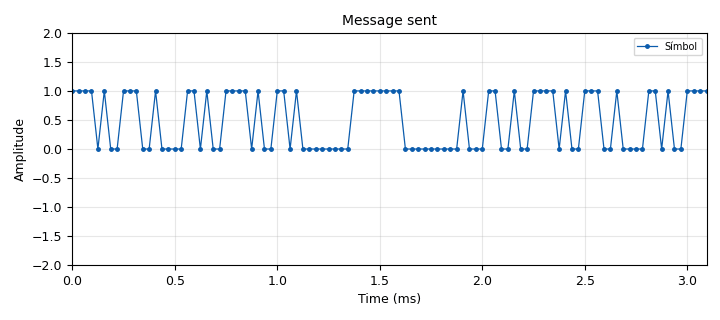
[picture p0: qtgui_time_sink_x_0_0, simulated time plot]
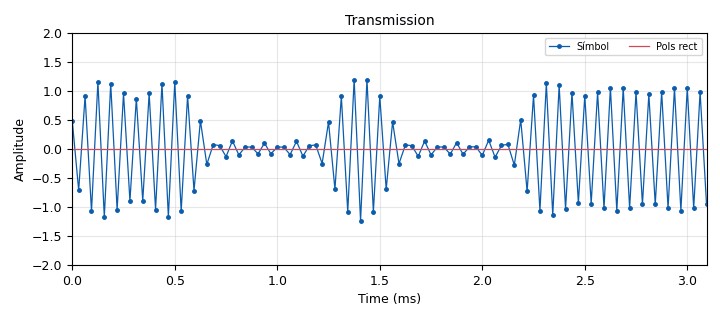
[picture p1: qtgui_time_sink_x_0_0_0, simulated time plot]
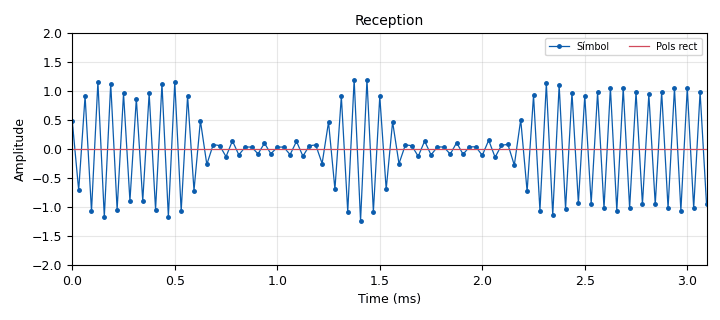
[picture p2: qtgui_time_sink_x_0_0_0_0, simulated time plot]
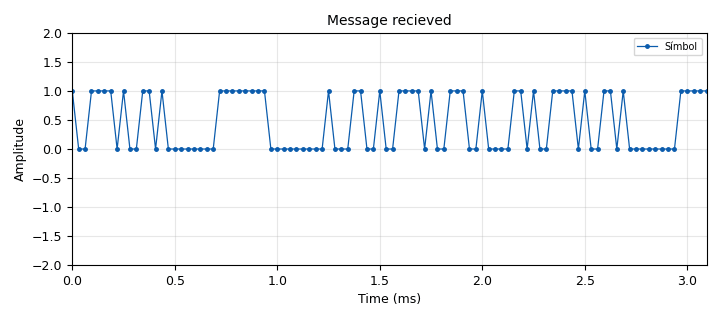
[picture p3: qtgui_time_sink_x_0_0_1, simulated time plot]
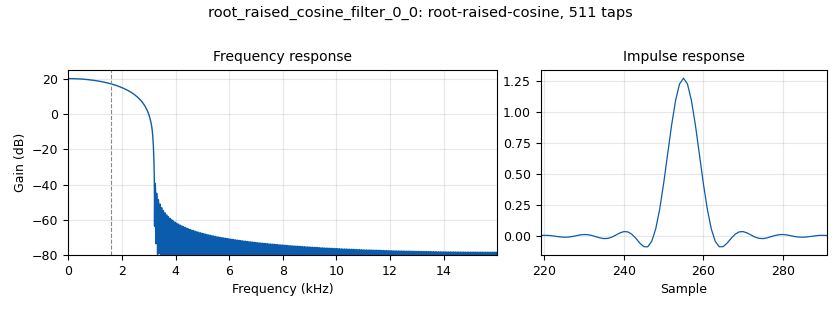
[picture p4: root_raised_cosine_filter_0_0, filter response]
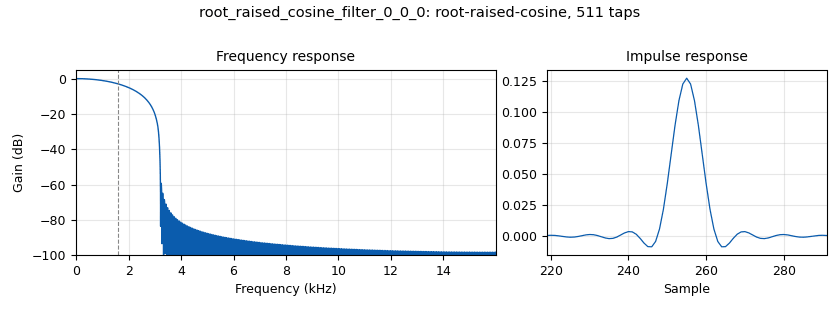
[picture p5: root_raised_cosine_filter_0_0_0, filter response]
options:
  parameters:
    generate_options: qt_gui
    id: ASK
    output_language: python
    title: ASK_Transmitter_Receiver
  states: {}

blocks:
- name: carrier_frequency
  id: variable_qtgui_range
  parameters:
    comment: Carrier Frequency
    label: carrier_frequency
    rangeType: int
    start: int(samp_rate/4)
    step: '100'
    stop: int(samp_rate/2)
    value: int(samp_rate/2)
  states: {}
- name: channel_attenuation
  id: variable_qtgui_range
  parameters:
    comment: Channel Attenuation
    label: channel_attenuation
    start: '0'
    step: '0.1'
    stop: '1'
    value: '1'
  states: {}
- name: delay_msg
  id: variable_qtgui_range
  parameters:
    rangeType: int
    start: '1'
    step: '1'
    stop: '72'
    value: '51'
  states: {}
- name: distance_time
  id: variable_qtgui_range
  parameters:
    comment: Distance Time
    label: distance_time
    rangeType: int
    start: '0'
    step: int(samp_rate/4)
    stop: int(samp_rate*10)
    value: '0'
  states: {}
- name: gamma
  id: variable_qtgui_range
  parameters:
    comment: gamma
    label: gamma
    start: '0'
    step: '100e-4'
    stop: '1'
    value: '500e-3'
  states: {}
- name: noise_amplitude
  id: variable_qtgui_range
  parameters:
    comment: Noise Amplitude
    label: noise_amplitude
    start: '0'
    step: '0.1'
    stop: '2'
    value: '0'
  states: {}
- name: num_taps
  id: variable
  parameters:
    value: '511'
  states: {}
- name: number_of_points
  id: variable
  parameters:
    value: '100'
  states: {}
- name: roll_off
  id: variable_qtgui_range
  parameters:
    gui_hint: 1,1,1,1
    start: '0.05'
    step: '0.05'
    stop: '1'
    value: '1'
  states: {}
- name: samp_rate
  id: variable
  parameters:
    value: 32e3
  states: {}
- name: space
  id: variable
  parameters:
    value: '10'
  states: {}
- name: analog_noise_source_x_0
  id: analog_noise_source_x
  parameters:
    amp: noise_amplitude
    noise_type: analog.GR_GAUSSIAN
    seed: '0'
    type: complex
  states: {}
- name: analog_sig_source_x_0
  id: analog_sig_source_x
  parameters:
    amp: '1'
    freq: carrier_frequency
    offset: '0'
    phase: '0'
    samp_rate: samp_rate
    type: float
    waveform: analog.GR_COS_WAVE
  states: {}
- name: blocks_add_xx_0
  id: blocks_add_xx
  parameters:
    type: complex
  states: {}
- name: blocks_char_to_float_0
  id: blocks_char_to_float
  parameters:
    comment: |-
      Moddulació 2PAM
      amb símbols -1 i 1
    scale: '1'
  states: {}
- name: blocks_complex_to_mag_0
  id: blocks_complex_to_mag
  parameters: {}
  states: {}
- name: blocks_delay_0
  id: blocks_delay
  parameters:
    comment: Simula el temps de transmissió
    delay: distance_time
    type: complex
  states: {}
- name: blocks_delay_1
  id: blocks_delay
  parameters:
    delay: delay_msg
    type: float
  states: {}
- name: blocks_float_to_complex_0
  id: blocks_float_to_complex
  parameters: {}
  states: {}
- name: blocks_multiply_const_vxx_0
  id: blocks_multiply_const_vxx
  parameters:
    comment: Simula la atenuació del canal
    const: channel_attenuation
    type: complex
  states: {}
- name: blocks_multiply_xx_0
  id: blocks_multiply_xx
  parameters:
    type: float
  states: {}
- name: blocks_sub_xx_0
  id: blocks_sub_xx
  parameters:
    type: float
  states: {}
- name: blocks_threshold_ff_0
  id: blocks_threshold_ff
  parameters:
    high: gamma
    init: '0'
    low: gamma
  states: {}
- name: blocks_throttle2_0
  id: blocks_throttle2
  parameters:
    samples_per_second: samp_rate
    type: complex
  states: {}
- name: blocks_throttle2_1
  id: blocks_throttle2
  parameters:
    samples_per_second: samp_rate
    type: byte
  states: {}
- name: blocks_throttle2_1_0
  id: blocks_throttle2
  parameters:
    samples_per_second: samp_rate
    type: float
  states: {}
- name: epy_block_0
  id: epy_block
  parameters:
    _source_code: |
      import numpy as np
      from gnuradio import gr

      class MessageSink(gr.sync_block):
          """
          Custom GNU Radio block that takes a stream of floats as input and prints a string corresponding to the UTF-8 encoding of the bits.

          Attributes:
              bits (list): The message converted into a sequence of bits.
              chars (list): The characters of the current message.
              in_message (bool): A flag indicating whether we are currently within a message.
              delay (int): The delay in samples.
              last_message (str): The last printed message.

          Methods:
              float_to_bit(f): Converts a float into a bit using a threshold.
              bits_to_char(bits): Converts a sequence of bits into a character.
              work(input_items, output_items): The main function called by GNU Radio to process the data.
          """
          def __init__(self, delay=100):  # Default delay, just in case (can be changed later)
              gr.sync_block.__init__(self,
                  name="Message Sink",
                  in_sig=[np.float32],
                  out_sig=None)
              self.bits = [] # List to store the bits
              self.chars = [] # List to store the characters
              self.in_message = False  # Flag to indicate if we are within a message
              self.delay = delay  # Delay in samples
              self.last_message = "" # Last printed message

          # Function to convert a float into a bit
          def float_to_bit(self, f):
              return 1 if f > 0.5 else 0 # Threshold to decide bit value (at 0.5)

          # Function to convert a sequence of bits into a character
          def bits_to_char(self, bits):
              return chr(int(''.join(map(str, bits)), 2))

          def work(self, input_items, output_items):
              ninput_items = len(input_items[0])
              
              # Convert floats to bits using the threshold
              self.bits.extend(self.float_to_bit(bit) for bit in input_items[0][:ninput_items])

              if len(self.bits) < self.delay:
                  # Not enough bits to start processing, return
                  return ninput_items

              # Apply delay
              self.bits = self.bits[self.delay:]

              # Main processing loop
              while len(self.bits) >= 8:
                  byte = self.bits[:8] # Get the next byte
                  self.bits = self.bits[8:]  # Remove processed bits

                  # Check for synchronization sequence
                  if byte == [1, 1, 1, 1, 1, 1, 1, 1]:
                      if self.bits[:8] == [0, 0, 0, 0, 0, 0, 0, 0]:
                          self.bits = self.bits[8:]  # Remove the second part of the synchronization sequence
                          self.in_message = True  # Start processing
                      continue

                  # Process the message
                  if self.in_message:
                      try:
                          if byte == [1, 1, 1, 1, 1, 1, 1, 1]:
                              # Skip appending the start sequence to the message
                              continue
                          # Convert the byte to a character
                          char = self.bits_to_char(byte)
                          if char == '\0':
                              # End of message
                              message = ''.join(self.chars)
                              if message != self.last_message:  # Only print the message if it has changed
                                  print(f"Received message: {message}")  # Print the message
                                  self.last_message = message  # Update the last printed message
                              self.chars = []  # Clear the list of characters for the next message
                              self.in_message = False  # Reset the message flag
                          else:
                              self.chars.append(char)  # Add the character to the list of characters
                      except ValueError:
                          # Invalid character, skip this byte
                          continue

              return ninput_items
    delay: 3+distance_time
  states: {}
- name: epy_block_1
  id: epy_block
  parameters:
    _source_code: "import numpy as np\nfrom gnuradio import gr\n\nclass MessageBitVectorSource(gr.sync_block):\n    \"\"\"\n    Custom GNU Radio block for converting a message into a bit vector source.\n\n    Attributes:\n        bits (list): The message converted into a sequence of bits.\n        index (int): The current position in the bit sequence.\n\n    Methods:\n        string_to_bits(s): Converts a string into a sequence of bits.\n        char_to_bits(char): Converts a character into a sequence of bits.\n        work(input_items, output_items): The main function called by GNU Radio to process the data.\n    \"\"\"\n    def __init__(self, message=\"Hello\"):  # Default message, just in case (can be changed later)\n        gr.sync_block.__init__(self,\n            name=\"Message Bit Vector Source\",\n            in_sig=None,\n            out_sig=[np.byte])\n        # Add the synchronization sequence, start sequence, and the frame to the message\n        self.bits = [1]*8 + self.string_to_bits('\\0' + message + '\\0')\n        self.index = 0  # Initialize the index to track current position in the bit sequence\n\n    def string_to_bits(self, s):\n        return [b for character in s for b in self.char_to_bits(character)]\n\n    def char_to_bits(self, char):\n        return [int(bit) for b in char.encode('utf-8') for bit in bin(b)[2:].zfill(8)]\n\n    def work(self, input_items, output_items):\n        noutput_items = len(output_items[0])\n        for i in range(noutput_items):\n            output_items[0][i] = self.bits[self.index]\n            self.index = (self.index + 1) % len(self.bits)  # Loop back to the start if at the end\n        return noutput_items\n    \n\n"
    message: '"FONCOM"'
  states: {}
- name: fir_filter_xxx_0
  id: fir_filter_xxx
  parameters:
    decim: '10'
    samp_delay: int(space/2)
    taps: '[1]'
    type: fff
  states: {}
- name: interp_fir_filter_xxx_0_0
  id: interp_fir_filter_xxx
  parameters:
    comment: Impuls
    interp: space
    taps: '[1]+[0]*(space-1)'
    type: fff
  states: {}
- name: qtgui_time_sink_x_0_0
  id: qtgui_time_sink_x
  parameters:
    alpha1: '0.75'
    color1: green
    ctrlpanel: 'True'
    grid: 'True'
    label1: Símbol
    marker1: '0'
    name: '"Message sent"'
    size: number_of_points
    srate: samp_rate
    style1: '2'
    type: float
    ymax: '2'
    ymin: '-2'
    yunit: '"Time"'
  states: {}
- name: qtgui_time_sink_x_0_0_0
  id: qtgui_time_sink_x
  parameters:
    alpha1: '0.75'
    color1: green
    ctrlpanel: 'True'
    grid: 'True'
    label1: Símbol
    label2: Pols rect
    marker1: '0'
    name: '"Transmission"'
    size: number_of_points
    srate: samp_rate
    style1: '2'
    type: complex
    width2: '2'
    ymax: '2'
    ymin: '-2'
    yunit: '"Time"'
  states: {}
- name: qtgui_time_sink_x_0_0_0_0
  id: qtgui_time_sink_x
  parameters:
    alpha1: '0.75'
    color1: green
    ctrlpanel: 'True'
    grid: 'True'
    label1: Símbol
    label2: Pols rect
    marker1: '0'
    name: '"Reception"'
    size: number_of_points
    srate: samp_rate
    style1: '2'
    type: complex
    width2: '2'
    ymax: '2'
    ymin: '-2'
    yunit: '"Time"'
  states: {}
- name: qtgui_time_sink_x_0_0_0_1
  id: qtgui_time_sink_x
  parameters:
    alpha1: '0.75'
    color1: green
    ctrlpanel: 'True'
    grid: 'True'
    label1: Símbol
    marker1: '0'
    name: '"Errors"'
    size: number_of_points
    srate: samp_rate
    style1: '2'
    type: float
    ymax: '2'
    ymin: '-2'
    yunit: '"Time"'
  states: {}
- name: qtgui_time_sink_x_0_0_1
  id: qtgui_time_sink_x
  parameters:
    alpha1: '0.75'
    color1: green
    ctrlpanel: 'True'
    grid: 'True'
    label1: Símbol
    marker1: '0'
    name: '"Message recieved"'
    size: number_of_points
    srate: samp_rate
    style1: '2'
    type: float
    ymax: '2'
    ymin: '-2'
    yunit: '"Time"'
  states: {}
- name: root_raised_cosine_filter_0_0
  id: root_raised_cosine_filter
  parameters:
    alpha: roll_off
    comment: p(t)
    decim: '1'
    gain: '10'
    ntaps: num_taps
    samp_rate: samp_rate
    sym_rate: samp_rate/space
    type: fir_filter_fff
  states: {}
- name: root_raised_cosine_filter_0_0_0
  id: root_raised_cosine_filter
  parameters:
    alpha: roll_off
    comment: p(t)
    gain: '1'
    interp: '1'
    ntaps: num_taps
    samp_rate: samp_rate
    sym_rate: samp_rate/space
    type: interp_fir_filter_fff
  states: {}
- name: virtual_sink_0
  id: virtual_sink
  parameters:
    stream_id: Transmission
  states: {}
- name: virtual_sink_0_0
  id: virtual_sink
  parameters:
    stream_id: Reception
  states: {}
- name: virtual_sink_1
  id: virtual_sink
  parameters:
    stream_id: Original
  states: {}
- name: virtual_sink_2
  id: virtual_sink
  parameters:
    stream_id: R
  states: {}
- name: virtual_source_0
  id: virtual_source
  parameters:
    alias: R
    stream_id: Reception
  states: {}
- name: virtual_source_0_0
  id: virtual_source
  parameters:
    alias: R
    stream_id: Transmission
  states: {}
- name: virtual_source_1
  id: virtual_source
  parameters:
    stream_id: Original
  states: {}
- name: virtual_source_2
  id: virtual_source
  parameters:
    stream_id: R
  states: {}

connections:
- [analog_noise_source_x_0, '0', blocks_add_xx_0, '1']
- [analog_sig_source_x_0, '0', blocks_multiply_xx_0, '1']
- [blocks_add_xx_0, '0', qtgui_time_sink_x_0_0_0_0, '0']
- [blocks_add_xx_0, '0', virtual_sink_0_0, '0']
- [blocks_char_to_float_0, '0', interp_fir_filter_xxx_0_0, '0']
- [blocks_char_to_float_0, '0', qtgui_time_sink_x_0_0, '0']
- [blocks_char_to_float_0, '0', virtual_sink_1, '0']
- [blocks_complex_to_mag_0, '0', root_raised_cosine_filter_0_0_0, '0']
- [blocks_delay_0, '0', blocks_multiply_const_vxx_0, '0']
- [blocks_delay_1, '0', blocks_sub_xx_0, '0']
- [blocks_float_to_complex_0, '0', blocks_throttle2_0, '0']
- [blocks_multiply_const_vxx_0, '0', blocks_add_xx_0, '0']
- [blocks_multiply_xx_0, '0', blocks_float_to_complex_0, '0']
- [blocks_sub_xx_0, '0', qtgui_time_sink_x_0_0_0_1, '0']
- [blocks_threshold_ff_0, '0', fir_filter_xxx_0, '0']
- [blocks_throttle2_0, '0', qtgui_time_sink_x_0_0_0, '0']
- [blocks_throttle2_0, '0', virtual_sink_0, '0']
- [blocks_throttle2_1, '0', blocks_char_to_float_0, '0']
- [blocks_throttle2_1_0, '0', epy_block_0, '0']
- [blocks_throttle2_1_0, '0', qtgui_time_sink_x_0_0_1, '0']
- [blocks_throttle2_1_0, '0', virtual_sink_2, '0']
- [epy_block_1, '0', blocks_throttle2_1, '0']
- [fir_filter_xxx_0, '0', blocks_throttle2_1_0, '0']
- [interp_fir_filter_xxx_0_0, '0', root_raised_cosine_filter_0_0, '0']
- [root_raised_cosine_filter_0_0, '0', blocks_multiply_xx_0, '0']
- [root_raised_cosine_filter_0_0_0, '0', blocks_threshold_ff_0, '0']
- [virtual_source_0, '0', blocks_complex_to_mag_0, '0']
- [virtual_source_0_0, '0', blocks_delay_0, '0']
- [virtual_source_1, '0', blocks_delay_1, '0']
- [virtual_source_2, '0', blocks_sub_xx_0, '1']

metadata:
  file_format: 1
  grc_version: 3.10.8.0
